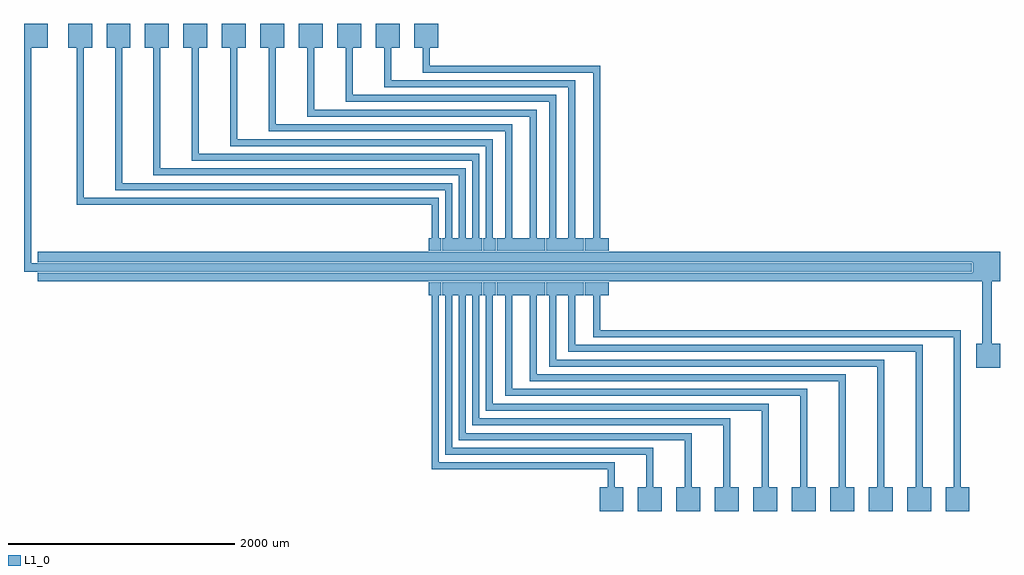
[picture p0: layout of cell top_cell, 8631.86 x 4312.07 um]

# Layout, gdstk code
import gdstk
lib = gdstk.Library(unit=1e-6, precision=1e-09)
def P(c, l, *ps):  # polygons
    for p in ps: c.add(gdstk.Polygon(p, *l))
L1_0 = (1, 0)

top_cell = lib.new_cell('top_cell')
P(top_cell, L1_0, [(1324,-2154),(1324,-1942),(1399,-1942),(1399,-1784),(-161,-1784),(-161,-241.5),(-186,-241.5),(-186,-129.5),(-74,-129.5),(-74,-241.5),(-99,-241.5),(-99,-1722),(1461,-1722),(1461,-1942),(1536,-1942),(1536,-2154)],
  [(1664,-2154),(1664,-1942),(1739,-1942),(1739,-1654),(-41,-1654),(-41,-241.5),(-66,-241.5),(-66,-129.5),(46,-129.5),(46,-241.5),(21,-241.5),(21,-1592),(1801,-1592),(1801,-1942),(1876,-1942),(1876,-2154)],
  [(2004,-2154),(2004,-1942),(2079,-1942),(2079,-1524),(79,-1524),(79,-241.5),(54,-241.5),(54,-129.5),(166,-129.5),(166,-241.5),(141,-241.5),(141,-1462),(2141,-1462),(2141,-1942),(2216,-1942),(2216,-2154)],
  [(2344,-2154),(2344,-1942),(2419,-1942),(2419,-1394),(199,-1394),(199,-241.5),(174,-241.5),(174,-129.5),(286,-129.5),(286,-241.5),(261,-241.5),(261,-1332),(2481,-1332),(2481,-1942),(2556,-1942),(2556,-2154)],
  [(2684,-2154),(2684,-1942),(2759,-1942),(2759,-1264),(319,-1264),(319,-241.5),(294,-241.5),(294,-129.5),(406,-129.5),(406,-241.5),(381,-241.5),(381,-1202),(2821,-1202),(2821,-1942),(2896,-1942),(2896,-2154)],
  [(3024,-2154),(3024,-1942),(3099,-1942),(3099,-1134),(489,-1134),(489,-241.5),(414,-241.5),(414,-129.5),(626,-129.5),(626,-241.5),(551,-241.5),(551,-1072),(3161,-1072),(3161,-1942),(3236,-1942),(3236,-2154)],
  [(3364,-2154),(3364,-1942),(3439,-1942),(3439,-1004),(709,-1004),(709,-241.5),(634,-241.5),(634,-129.5),(846,-129.5),(846,-241.5),(771,-241.5),(771,-942),(3501,-942),(3501,-1942),(3576,-1942),(3576,-2154)],
  [(3704,-2154),(3704,-1942),(3779,-1942),(3779,-874),(879,-874),(879,-241.5),(854,-241.5),(854,-129.5),(966,-129.5),(966,-241.5),(941,-241.5),(941,-812),(3841,-812),(3841,-1942),(3916,-1942),(3916,-2154)],
  [(4044,-2154),(4044,-1942),(4119,-1942),(4119,-744),(1049,-744),(1049,-241.5),(974,-241.5),(974,-129.5),(1186,-129.5),(1186,-241.5),(1111,-241.5),(1111,-682),(4181,-682),(4181,-1942),(4256,-1942),(4256,-2154)],
  [(4384,-2154),(4384,-1942),(4459,-1942),(4459,-614),(1269,-614),(1269,-241.5),(1194,-241.5),(1194,-129.5),(1406,-129.5),(1406,-241.5),(1331,-241.5),(1331,-552),(4521,-552),(4521,-1942),(4596,-1942),(4596,-2154)],
  [(4654,-884),(4654,-672),(4709,-672),(4709,-121.5),(-3646,-121.5),(-3646,-44.5),(4624,-44.5),(4624,48.5),(-3646,48.5),(-3646,140.5),(4866,140.5),(4866,-121.5),(4791,-121.5),(4791,-672),(4866,-672),(4866,-884)],
  [(-186,148.5),(-186,260.5),(-161,260.5),(-161,556),(-3301,556),(-3301,1946),(-3376,1946),(-3376,2158),(-3164,2158),(-3164,1946),(-3239,1946),(-3239,618),(-99,618),(-99,260.5),(-74,260.5),(-74,148.5)],
  [(-66,148.5),(-66,260.5),(-41,260.5),(-41,686),(-2961,686),(-2961,1946),(-3036,1946),(-3036,2158),(-2824,2158),(-2824,1946),(-2899,1946),(-2899,748),(21,748),(21,260.5),(46,260.5),(46,148.5)],
  [(54,148.5),(54,260.5),(79,260.5),(79,816),(-2621,816),(-2621,1946),(-2696,1946),(-2696,2158),(-2484,2158),(-2484,1946),(-2559,1946),(-2559,878),(141,878),(141,260.5),(166,260.5),(166,148.5)],
  [(174,148.5),(174,260.5),(199,260.5),(199,946),(-2281,946),(-2281,1946),(-2356,1946),(-2356,2158),(-2144,2158),(-2144,1946),(-2219,1946),(-2219,1008),(261,1008),(261,260.5),(286,260.5),(286,148.5)],
  [(294,148.5),(294,260.5),(319,260.5),(319,1076),(-1941,1076),(-1941,1946),(-2016,1946),(-2016,2158),(-1804,2158),(-1804,1946),(-1879,1946),(-1879,1138),(381,1138),(381,260.5),(406,260.5),(406,148.5)],
  [(414,148.5),(414,260.5),(489,260.5),(489,1206),(-1601,1206),(-1601,1946),(-1676,1946),(-1676,2158),(-1464,2158),(-1464,1946),(-1539,1946),(-1539,1268),(551,1268),(551,260.5),(626,260.5),(626,148.5)],
  [(634,148.5),(634,260.5),(709,260.5),(709,1336),(-1261,1336),(-1261,1946),(-1336,1946),(-1336,2158),(-1124,2158),(-1124,1946),(-1199,1946),(-1199,1398),(771,1398),(771,260.5),(846,260.5),(846,148.5)],
  [(854,148.5),(854,260.5),(879,260.5),(879,1466),(-921,1466),(-921,1946),(-996,1946),(-996,2158),(-784,2158),(-784,1946),(-859,1946),(-859,1528),(941,1528),(941,260.5),(966,260.5),(966,148.5)],
  [(974,148.5),(974,260.5),(1049,260.5),(1049,1596),(-581,1596),(-581,1946),(-656,1946),(-656,2158),(-444,2158),(-444,1946),(-519,1946),(-519,1658),(1111,1658),(1111,260.5),(1186,260.5),(1186,148.5)],
  [(1194,148.5),(1194,260.5),(1269,260.5),(1269,1726),(-241,1726),(-241,1946),(-316,1946),(-316,2158),(-104,2158),(-104,1946),(-179,1946),(-179,1788),(1331,1788),(1331,260.5),(1406,260.5),(1406,148.5)],
  [(-3765.859,-36.429),(-3765.859,2158.071),(-3553.859,2158.071),(-3553.859,1946.071),(-3703.859,1946.071),(-3703.859,40.571),(4616.141,40.571),(4616.141,-36.429)])

lib.write_gds('top_cell.gds')
